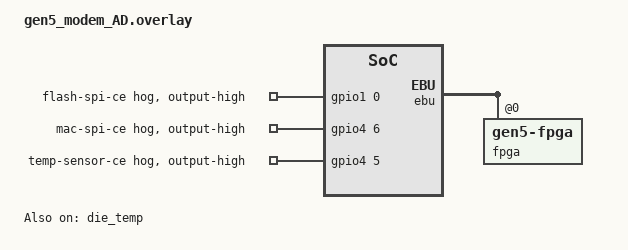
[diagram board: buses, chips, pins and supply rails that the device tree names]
&die_temp {
	status = "okay";
};

&ebu {
	fpga: gen5-fpga@0 {
		reg = <0>;
		device-type = "Muxed Asynchronous Type";
		address-bus-width = "16-bit";

		address-valid-cycles = <15 15>;
		address-hold-cycles = <4 4>;
		command-delay-cycles = <0 0>;
		command-cycles = <32 20>;
		data-hold-cycles = <0 4>;
		recovery-cycles = <7 0>;
	};
};

/{
	gen5_fpga: gen5_fpga@60000000 {
		status = "disabled";
		compatible = "infineon,xmc4xxx-gen5-fpga";
		reg = <0x60000000 0x4000000>;
		int-gpios = <&gpio0 0 GPIO_ACTIVE_LOW>;
		rx-enable-gpios = <&gpio5 11 0>;
		current-measure-enable-gpios = <&gpio5 10 0>;
		pll-locked-gpios = <&gpio0 15 0>;
		modb-int-de-gpios = <&gpio5 7 0>;
		modb-int-tx-gpios = <&gpio3 11 0>;
		clocks = <&pwmclock 0>;
	};

	gen5_time_sync: gen5_time_sync {
		status = "disabled";
		compatible = "infineon,xmc4xxx-gen5-time-sync";
		time-sync-error-gpios = <&gpio6 4 0>;
	};

	gen5_emotas_can: gen5_emotas_can {
		compatible = "emotas,can-open";
		can-handles = <&canfd>;
	};
};

&gpio1 {
    status = "okay";
    flash-spi-ce {
	gpio-hog;
	gpios = <0 GPIO_ACTIVE_HIGH>;
	output-high;
    };
};

&gpio4 {
    status = "okay";
    mac-spi-ce {
	gpio-hog;
	gpios = <6 GPIO_ACTIVE_HIGH>;
	output-high;
    };
    temp-sensor-ce {
	gpio-hog;
	gpios = <5 GPIO_ACTIVE_HIGH>;
	output-high;
    };
};

&gpio5 {
	status = "okay";
};

&gpio6 {
	status = "okay";
};
